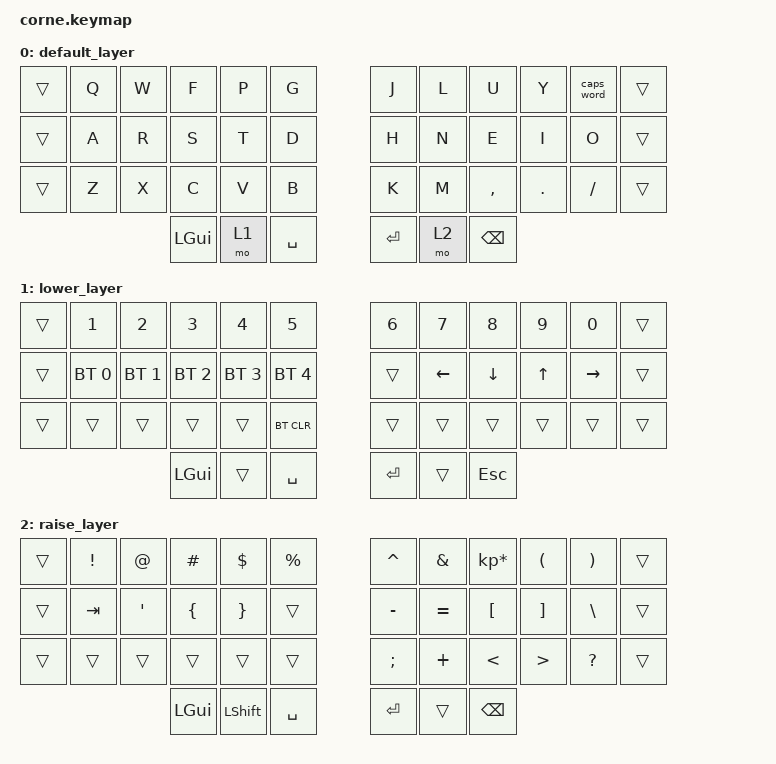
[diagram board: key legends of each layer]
/*
 * Copyright (c) 2020 The ZMK Contributors
 *
 * SPDX-License-Identifier: MIT
 */

#include <behaviors.dtsi>
#include <dt-bindings/zmk/keys.h>
#include <dt-bindings/zmk/bt.h>

/ {
    keymap {
        compatible = "zmk,keymap";

        default_layer {
            // -----------------------------------------------------------------------------------------
            // |  TAB |  Q  |  W  |  E  |  R  |  T  |   |  Y  |  U   |  I  |  O  |  P  | BKSP |
            // | CTRL |  A  |  S  |  D  |  F  |  G  |   |  H  |  J   |  K  |  L  |  ;  |  '   |
            // | SHFT |  Z  |  X  |  C  |  V  |  B  |   |  N  |  M   |  ,  |  .  |  /  | ESC  |
            //                    | GUI | LWR | SPC |   | ENT | RSE  | ALT |

            bindings = <
 &trans   &kp Q   &kp W     &kp F   &kp P      &kp G    &kp J   &kp L          &kp U    &kp Y  &caps_word  &trans
 &trans   &kp A   &kp R     &kp S   &kp T      &kp D    &kp H   &kp N          &kp E    &kp I       &kp O  &trans
 &trans   &kp Z   &kp X     &kp C   &kp V      &kp B    &kp K   &kp M      &kp COMMA  &kp DOT    &kp FSLH  &trans
                         &kp LGUI   &mo 1  &kp SPACE  &kp RET   &mo 2  &kp BACKSPACE
            >;
        };

        lower_layer {
            // -----------------------------------------------------------------------------------------
            // |  TAB |  1  |  2  |  3  |  4  |  5  |   |  6  |  7  |  8  |  9  |  0  | BKSP |
            // | BTCLR| BT1 | BT2 | BT3 | BT4 | BT5 |   | LFT | DWN |  UP | RGT |     |      |
            // | SHFT |     |     |     |     |     |   |     |     |     |     |     |      |
            //                    | GUI |     | SPC |   | ENT |     | ALT |

            bindings = <
 &trans        &kp N1        &kp N2        &kp N3        &kp N4        &kp N5   &kp N6    &kp N7    &kp N8  &kp N9     &kp N0  &trans
 &trans  &bt BT_SEL 0  &bt BT_SEL 1  &bt BT_SEL 2  &bt BT_SEL 3  &bt BT_SEL 4   &trans  &kp LEFT  &kp DOWN  &kp UP  &kp RIGHT  &trans
 &trans        &trans        &trans        &trans        &trans    &bt BT_CLR   &trans    &trans    &trans  &trans     &trans  &trans
                                         &kp LGUI        &trans     &kp SPACE  &kp RET    &trans   &kp ESC
            >;
        };

        raise_layer {
            // -----------------------------------------------------------------------------------------
            // |  TAB |  !  |  @  |  #  |  $  |  %  |   |  ^  |  &  |  *  |  (  |  )  | BKSP |
            // | CTRL |     |     |     |     |     |   |  -  |  =  |  [  |  ]  |  \  |  `   |
            // | SHFT |     |     |     |     |     |   |  _  |  +  |  {  |  }  | "|" |  ~   |
            //                    | GUI |     | SPC |   | ENT |     | ALT |

            bindings = <
 &trans  &kp EXCL            &kp AT        &kp HASH         &kp DLLR  &kp PRCNT      &kp CARET   &kp AMPS  &kp KP_MULTIPLY  &kp LPAR   &kp RPAR  &trans
 &trans   &kp TAB  &kp SINGLE_QUOTE  &kp LEFT_BRACE  &kp RIGHT_BRACE     &trans      &kp MINUS  &kp EQUAL         &kp LBKT  &kp RBKT   &kp BSLH  &trans
 &trans    &trans            &trans          &trans           &trans     &trans  &kp SEMICOLON   &kp PLUS           &kp LT    &kp GT  &kp QMARK  &trans
                                           &kp LGUI   &kp LEFT_SHIFT  &kp SPACE        &kp RET     &trans    &kp BACKSPACE
            >;
        };
    };
};
